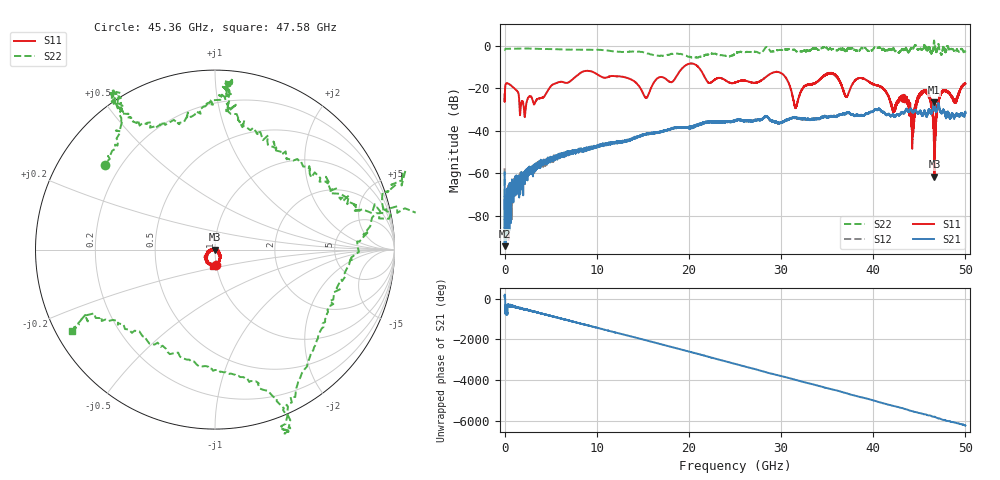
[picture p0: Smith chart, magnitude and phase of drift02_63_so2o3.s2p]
!Created with skrf (http://scikit-rf.org).
# Hz S RI R 50.0
!freq ReS11 ImS11 ReS21 ImS21 ReS12 ImS12 ReS22 ImS22
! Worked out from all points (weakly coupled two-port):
!   10001 points, 300 kHz to 50 GHz, reference 50 ohm
!   highest |S21| = -26.69 dB at 46.61 GHz (marker M1); lowest = -94.3 dB at 15.3 MHz (marker M2)
!   lowest |S11| = -61.7 dB at 46.65 GHz (marker M3), VSWR 1.00, Z = 50 - j0.079 ohm
!   |S11| at or under -10 dB: start of sweep to 19.42 GHz; 21.01 GHz to end of sweep
!   |S22| runs from -5.7 to 2.5 dB; largest |S21 - S12| = 0.0037
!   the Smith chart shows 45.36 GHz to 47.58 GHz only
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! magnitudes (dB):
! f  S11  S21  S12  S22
! 300 kHz  -22.9  -59.7  -57.7  -2.1
! 15.3 MHz  -24.9  -94.3  -73.4  -2.0
! 255.3 MHz  -17.6  -74.3  -73.2  -1.4
! 2.19 GHz  -33.5  -61.4  -61.2  -1.3
! 8.335 GHz  -12.5  -49.6  -48.9  -1.9
! 15.34 GHz  -24.6  -41.5  -41.5  -3.4
! 16.67 GHz  -15.1  -40.8  -40.8  -4.7
! 20.3 GHz  -8.4  -38.5  -38.2  -5.5
! 25 GHz  -17.3  -35.4  -35.3  -3.9
! 29.84 GHz  -12.5  -36.2  -36.4  -2.0
! 31.59 GHz  -29.0  -33.8  -34.0  -2.4
! 33.34 GHz  -18.1  -34.4  -34.5  -1.5
! 35.6 GHz  -13.1  -33.2  -33.2  -1.6
! 37.1 GHz  -24.1  -31.8  -31.7  -2.2
! 38.75 GHz  -15.2  -32.7  -32.7  -1.0
! 41.67 GHz  -24.0  -32.2  -32.2  -1.9
! 44.29 GHz  -38.7  -31.4  -31.3  -1.5
! 45.72 GHz  -21.7  -33.1  -32.7  -1.0
! 46.61 GHz  -40.2  -26.7  -26.8  2.5
! 46.65 GHz  -61.7  -27.8  -27.8  1.2
! 47.49 GHz  -21.6  -31.5  -31.4  -2.9
! 50 GHz  -17.9  -31.4  -31.7  -2.7
